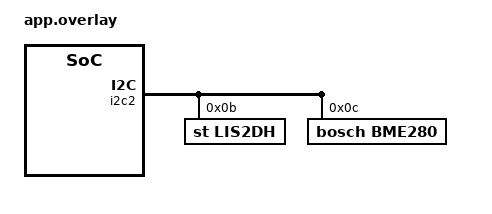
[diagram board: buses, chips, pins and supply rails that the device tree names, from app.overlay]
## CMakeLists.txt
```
# SPDX-License-Identifier: Apache-2.0

cmake_minimum_required(VERSION 3.20.0)

find_package(Zephyr REQUIRED HINTS $ENV{ZEPHYR_BASE})
project(multi_api_shell)

target_sources(app PRIVATE src/main.c)
```

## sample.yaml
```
sample:
  description: Simple dummy shell
  name: Multi API sensor shell

tests:
  sample.multi_api_shell.sensor_shell:
    platform_allow: b_u585i_iot02a
```

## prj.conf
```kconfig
# Board b_u585i_iot02a

CONFIG_SENSOR=y
CONFIG_HTS221=y
CONFIG_LIS2DH=y
CONFIG_BME280=y
```

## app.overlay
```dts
/*
 * Copyright (c) 2022 Trackunit A/S
 *
 * SPDX-License-Identifier: Apache-2.0
 */

&i2c2 {
	lis2dh@0b {
		compatible = "st,lis2dh";
		reg = <0x0b>;
	};

	bme280@0c {
		compatible = "bosch,bme280";
		reg = <0x0c>;
	};
};
```

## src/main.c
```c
/*
 * Copyright (c) 2022 Trackunit A/S
 *
 * SPDX-License-Identifier: Apache-2.0
 */

#include <zephyr/kernel.h>
#include <zephyr/device.h>
#include <zephyr/drivers/sensor.h>

struct sensor_info {
	const struct device *dev;
	const char *vendor;
	const char *model;
};

/*
 * Note that DEVICE_DT_PROPERTY and DT_PROP use the same node so they
 * can be mixed
 */
#define SENSOR_INFO_INITIALIZER(node_id)                                \
	{                                                                   \
		.dev = DEVICE_DT_GET(node_id),                                  \
		.vendor = DEVICE_DT_PROPERTY(node_id, vendor),                  \
		.model = DEVICE_DT_PROPERTY(node_id, model),                    \
	},

/*
 * It is known at compile time if any sensor exists in the system, save
 * memory by warning user to exclude the shell using KConfig.
 */
#if (DEVICE_DT_API_SUPPORTED_ANY(sensor) == 0)
	#warning "Sensor shell is enabled without any sensor in system"
#endif

/*
 * Every sensor with status OK in devicetree will be filled into this
 * list automatically during compile time
 */
static struct sensor_info sensors[] = {
	DEVICE_DT_API_FOREACH(SENSOR_INFO_INITIALIZER, sensor)
};

/*
 * Yes, this is not actually a shell, it is an example showing how to
 * identify and include all sensors in the system.
 */
void main(void)
{
	/* Print sensor info header */
	printk("Sensor info:\n");
	printk("Sensor count: %u\n\n", ARRAY_SIZE(sensors));

	/* Print sensor info for each sensor */
	for (int i = 0; i < ARRAY_SIZE(sensors); i++) {
		printk("device: %u, vendor: %s, model: %s\n",
			(size_t)sensors[i].dev, sensors[i].vendor, sensors[i].model);
	}
}
```
